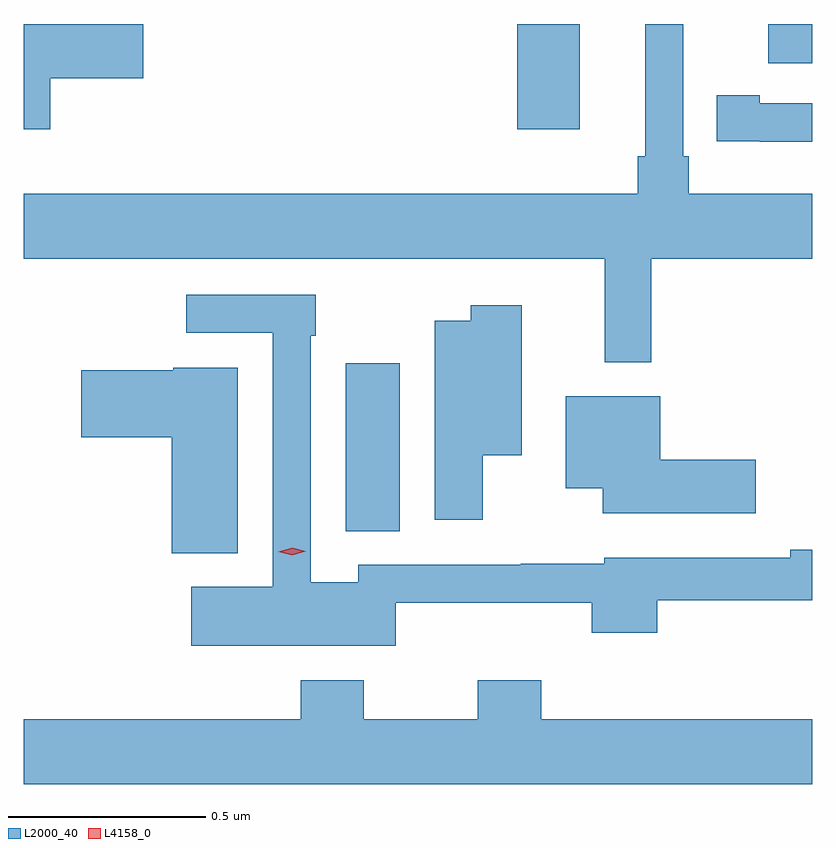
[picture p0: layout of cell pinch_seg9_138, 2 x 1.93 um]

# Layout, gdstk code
import gdstk
lib = gdstk.Library(unit=1e-6, precision=1e-09)
def R(c, l, rs):  # rectangles x0, y0, x1, y1
    for r in rs: c.add(gdstk.rectangle(r[:2], r[2:], *l))
def P(c, l, *ps):  # polygons
    for p in ps: c.add(gdstk.Polygon(p, *l))
L2000_40 = (2000, 40)
L4158_0 = (4158, 0)

pinch_seg9_138 = lib.new_cell('pinch_seg9_138')
R(pinch_seg9_138, L2000_40, [(778.523,1217.041,778.66,1217.467), (778.958,1218.06,779.116,1218.327), (779.594,1218.228,779.706,1218.327)])
P(pinch_seg9_138, L2000_40, [(779.297,1217.732),(779.706,1217.732),(779.706,1217.896),(779.393,1217.896),(779.393,1217.992),(779.379,1217.992),(779.379,1218.327),(779.282,1218.327),(779.282,1217.992),(779.263,1217.992),(779.263,1217.896),(777.706,1217.896),(777.706,1217.732),(779.18,1217.732),(779.18,1217.469),(779.297,1217.469)],
  [(777.773,1218.19),(778.009,1218.19),(778.009,1218.327),(777.706,1218.327),(777.706,1218.06),(777.773,1218.06)],
  [(779.706,1218.126),(779.572,1218.126),(779.572,1218.146),(779.464,1218.146),(779.464,1218.03),(779.572,1218.03),(779.572,1218.029),(779.706,1218.029)],
  [(778.65,1216.859),(779.147,1216.859),(779.147,1216.784),(779.312,1216.784),(779.312,1216.866),(779.706,1216.866),(779.706,1216.994),(779.65,1216.994),(779.65,1216.974),(779.178,1216.974),(779.178,1216.958),(778.966,1216.958),(778.966,1216.956),(778.554,1216.956),(778.554,1216.912),(778.434,1216.912),(778.434,1217.537),(778.447,1217.537),(778.447,1217.64),(778.119,1217.64),(778.119,1217.544),(778.338,1217.544),(778.338,1216.9),(778.131,1216.9),(778.131,1216.751),(778.65,1216.751)],
  [(778.87,1217.234),(778.969,1217.234),(778.969,1217.614),(778.84,1217.614),(778.84,1217.575),(778.748,1217.575),(778.748,1217.07),(778.87,1217.07)],
  [(778.249,1217.455),(778.086,1217.455),(778.086,1217.449),(777.852,1217.449),(777.852,1217.279),(778.082,1217.279),(778.082,1216.985),(778.249,1216.985)],
  [(779.563,1217.222),(779.32,1217.222),(779.32,1217.383),(779.081,1217.383),(779.081,1217.15),(779.174,1217.15),(779.174,1217.087),(779.563,1217.087)],
  [(779.706,1216.564),(779.018,1216.564),(779.018,1216.663),(778.858,1216.663),(778.858,1216.564),(778.569,1216.564),(778.569,1216.663),(778.409,1216.663),(778.409,1216.564),(777.706,1216.564),(777.706,1216.4),(779.706,1216.4)])
P(pinch_seg9_138, L4158_0, [(778.387,1216.98),(778.352,1216.989),(778.352,1216.989),(778.352,1216.989),(778.387,1216.999),(778.422,1216.99),(778.422,1216.99),(778.422,1216.99)])

lib.write_gds('pinch_seg9_138.gds')
